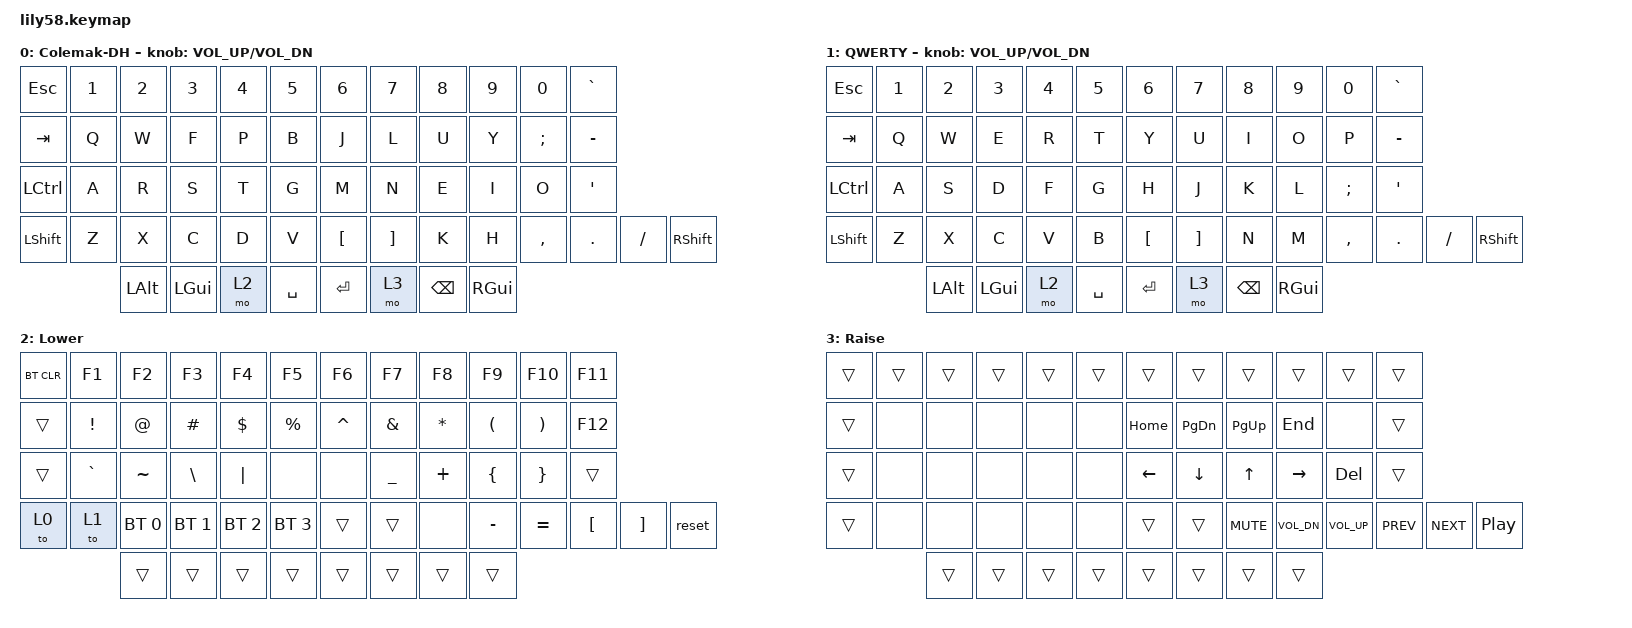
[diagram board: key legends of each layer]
#include <behaviors.dtsi>
#include <dt-bindings/zmk/keys.h>
#include <dt-bindings/zmk/bt.h>
#include <dt-bindings/zmk/ext_power.h>

/ {
    keymap {
        compatible = "zmk,keymap";

        colemak_dh {
            display-name = "Colemak-DH";
            bindings = <
                &kp ESC    &kp N1    &kp N2    &kp N3    &kp N4    &kp N5                &kp N6    &kp N7    &kp N8    &kp N9    &kp N0    &kp GRAVE
                &kp TAB    &kp Q     &kp W     &kp F     &kp P     &kp B                 &kp J     &kp L     &kp U     &kp Y     &kp SEMI  &kp MINUS
                &kp LCTRL  &kp A     &kp R     &kp S     &kp T     &kp G                 &kp M     &kp N     &kp E     &kp I     &kp O     &kp SQT
                &kp LSHFT  &kp Z     &kp X     &kp C     &kp D     &kp V  &kp LBKT        &kp RBKT  &kp K     &kp H     &kp COMMA &kp DOT   &kp FSLH  &kp RSHFT
                                           &kp LALT  &kp LGUI  &mo 2  &kp SPACE          &kp RET   &mo 3     &kp BSPC  &kp RGUI
            >;
            sensor-bindings = <&inc_dec_kp C_VOL_UP C_VOL_DN>;
        };

        qwerty {
            display-name = "QWERTY";
            bindings = <
                &kp ESC    &kp N1    &kp N2    &kp N3    &kp N4    &kp N5                &kp N6    &kp N7    &kp N8    &kp N9    &kp N0    &kp GRAVE
                &kp TAB    &kp Q     &kp W     &kp E     &kp R     &kp T                 &kp Y     &kp U     &kp I     &kp O     &kp P     &kp MINUS
                &kp LCTRL  &kp A     &kp S     &kp D     &kp F     &kp G                 &kp H     &kp J     &kp K     &kp L     &kp SEMI  &kp SQT
                &kp LSHFT  &kp Z     &kp X     &kp C     &kp V     &kp B  &kp LBKT        &kp RBKT  &kp N     &kp M     &kp COMMA &kp DOT   &kp FSLH  &kp RSHFT
                                           &kp LALT  &kp LGUI  &mo 2  &kp SPACE          &kp RET   &mo 3     &kp BSPC  &kp RGUI
            >;
            sensor-bindings = <&inc_dec_kp C_VOL_UP C_VOL_DN>;
        };

        lower {
            display-name = "Lower";
            bindings = <
                &bt BT_CLR &kp F1    &kp F2    &kp F3    &kp F4    &kp F5                &kp F6    &kp F7    &kp F8    &kp F9    &kp F10   &kp F11
                &trans     &kp EXCL  &kp AT    &kp HASH  &kp DLLR  &kp PRCNT             &kp CARET &kp AMPS  &kp STAR  &kp LPAR  &kp RPAR  &kp F12
                &trans     &kp GRAVE &kp TILDE &kp BSLH  &kp PIPE  &none                  &none     &kp UNDER &kp PLUS  &kp LBRC  &kp RBRC  &trans
                &to 0      &to 1     &bt BT_SEL 0 &bt BT_SEL 1 &bt BT_SEL 2 &bt BT_SEL 3 &trans    &trans    &none     &kp MINUS &kp EQUAL &kp LBKT  &kp RBKT  &reset
                                           &trans    &trans    &trans &trans              &trans    &trans    &trans    &trans
            >;
        };

        raise {
            display-name = "Raise";
            bindings = <
                &trans     &trans    &trans    &trans    &trans    &trans                &trans    &trans    &trans    &trans    &trans    &trans
                &trans     &none     &none     &none     &none     &none                 &kp HOME  &kp PG_DN &kp PG_UP &kp END   &none     &trans
                &trans     &none     &none     &none     &none     &none                 &kp LEFT  &kp DOWN  &kp UP    &kp RIGHT &kp DEL   &trans
                &trans     &none     &none     &none     &none     &none &trans          &trans    &kp C_MUTE &kp C_VOL_DN &kp C_VOL_UP &kp C_PREV &kp C_NEXT &kp C_PP
                                           &trans    &trans    &trans &trans              &trans    &trans    &trans    &trans
            >;
        };
    };
};
